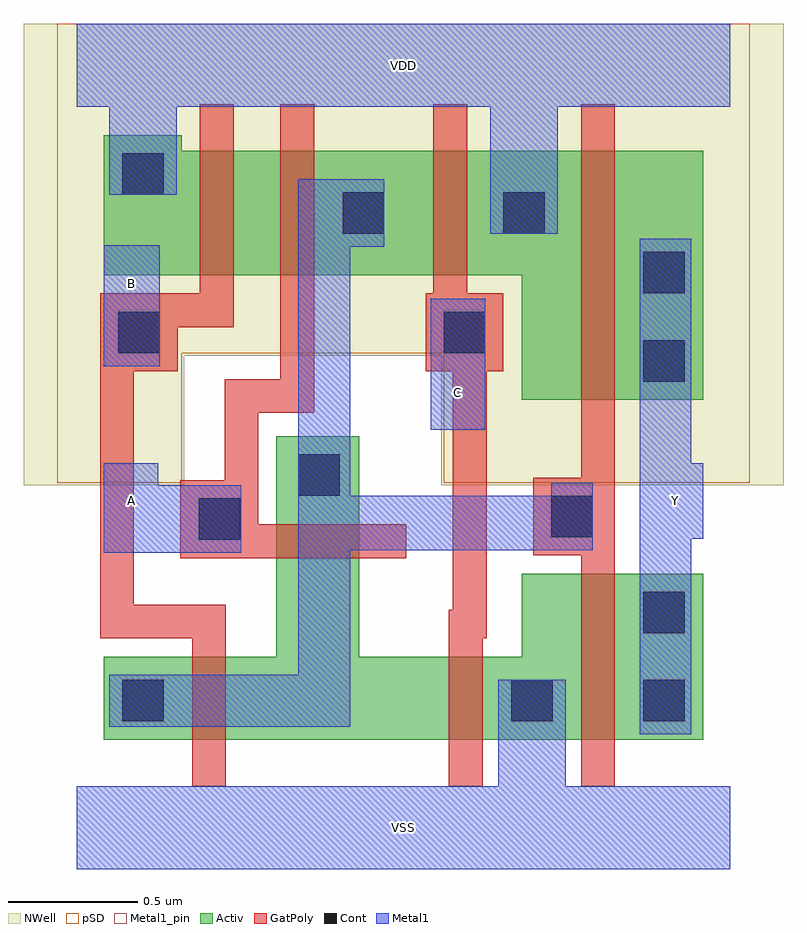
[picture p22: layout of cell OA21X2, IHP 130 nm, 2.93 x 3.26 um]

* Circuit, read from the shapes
.subckt OA21X2 A B C VDD VSS Y
XM1 n1 B n2 VSUBS sg13_lv_nmos w=0.32u l=0.13u
XM2 n2 A n1 VSUBS sg13_lv_nmos w=0.32u l=0.13u
XM3 VSS C n1 VSUBS sg13_lv_nmos w=0.32u l=0.13u
XM4 Y n2 VSS VSUBS sg13_lv_nmos w=0.64u l=0.13u
XM5 n3 B VDD n4 sg13_lv_pmos w=0.48u l=0.13u
XM6 n2 A n3 n4 sg13_lv_pmos w=0.48u l=0.13u
XM7 VDD C n2 n4 sg13_lv_pmos w=0.48u l=0.13u
XM8 Y n2 VDD n4 sg13_lv_pmos w=0.96u l=0.13u
.ends

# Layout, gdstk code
import gdstk
lib = gdstk.Library(unit=1e-6, precision=1e-09)
def R(c, l, rs):  # rectangles x0, y0, x1, y1
    for r in rs: c.add(gdstk.rectangle(r[:2], r[2:], *l))
def P(c, l, *ps):  # polygons
    for p in ps: c.add(gdstk.Polygon(p, *l))
Activ = (1, 0)
GatPoly = (5, 0)
Cont = (6, 0)
Metal1 = (8, 0)
Metal1_pin = (8, 2)
pSD = (14, 0)
NWell = (31, 0)

oa21x2 = lib.new_cell('OA21X2')
P(oa21x2, Activ, [(0.105,0.34),(0.105,0.66),(0.77,0.66),(0.77,1.51),(1.09,1.51),(1.09,0.66),(1.715,0.66),(1.715,0.98),(2.415,0.98),(2.415,0.34)],
  [(1.715,1.65),(1.715,2.13),(0.105,2.13),(0.105,2.67),(0.405,2.67),(0.405,2.61),(2.415,2.61),(2.415,1.65)])
P(oa21x2, GatPoly, [(1.945,0.16),(1.945,1.05),(1.76,1.05),(1.76,1.35),(1.945,1.35),(1.945,2.79),(2.075,2.79),(2.075,0.16)],
  [(0.4,1.04),(0.4,1.34),(0.57,1.34),(0.57,1.73),(0.785,1.73),(0.785,2.79),(0.915,2.79),(0.915,1.6),(0.7,1.6),(0.7,1.17),(1.27,1.17),(1.27,1.04)],
  [(1.435,0.16),(1.435,0.84),(1.45,0.84),(1.45,1.76),(1.345,1.76),(1.345,2.06),(1.375,2.06),(1.375,2.79),(1.505,2.79),(1.505,2.06),(1.645,2.06),(1.645,1.76),(1.58,1.76),(1.58,0.73),(1.565,0.73),(1.565,0.16)],
  [(0.445,0.16),(0.445,0.73),(0.09,0.73),(0.09,2.06),(0.475,2.06),(0.475,2.79),(0.605,2.79),(0.605,1.93),(0.39,1.93),(0.39,1.76),(0.22,1.76),(0.22,0.86),(0.575,0.86),(0.575,0.16)])
R(oa21x2, Cont, [(0.175,0.41,0.335,0.57), (1.675,0.41,1.835,0.57), (2.185,0.41,2.345,0.57), (2.185,0.75,2.345,0.91), (0.47,1.11,0.63,1.27), (1.83,1.12,1.99,1.28), (0.855,1.28,1.015,1.44), (2.185,1.72,2.345,1.88), (0.16,1.83,0.32,1.99), (1.415,1.83,1.575,1.99), (2.185,2.06,2.345,2.22), (1.025,2.29,1.185,2.45), (1.645,2.29,1.805,2.45), (0.175,2.44,0.335,2.6)])
R(oa21x2, Metal1, [(1.365,1.535,1.575,2.04), (0.105,1.78,0.32,2.245)])
P(oa21x2, Metal1, [(0,-0.16),(0,0.16),(1.625,0.16),(1.625,0.57),(1.885,0.57),(1.885,0.16),(2.52,0.16),(2.52,-0.16)],
  [(1.595,2.29),(1.595,2.78),(0.385,2.78),(0.385,2.44),(0.125,2.44),(0.125,2.78),(0,2.78),(0,3.1),(2.52,3.1),(2.52,2.78),(1.855,2.78),(1.855,2.29)],
  [(2.17,0.36),(2.17,2.27),(2.37,2.27),(2.37,1.405),(2.415,1.405),(2.415,1.115),(2.37,1.115),(2.37,0.36)],
  [(0.125,0.39),(0.125,0.59),(0.855,0.59),(0.855,2.5),(1.185,2.5),(1.185,2.24),(1.055,2.24),(1.055,1.28),(1.83,1.28),(1.83,1.33),(1.99,1.33),(1.99,1.07),(1.055,1.07),(1.055,0.39)],
  [(0.105,1.06),(0.105,1.405),(0.315,1.405),(0.315,1.32),(0.635,1.32),(0.635,1.06)])
R(oa21x2, Metal1_pin, [(1.365,1.535,1.575,2.04), (0.105,1.78,0.32,2.245)])
P(oa21x2, Metal1_pin, [(1.595,2.29),(1.595,2.78),(0.385,2.78),(0.385,2.44),(0.125,2.44),(0.125,2.78),(0,2.78),(0,3.1),(2.52,3.1),(2.52,2.78),(1.855,2.78),(1.855,2.29)],
  [(2.17,0.36),(2.17,2.27),(2.37,2.27),(2.37,1.405),(2.415,1.405),(2.415,1.115),(2.37,1.115),(2.37,0.36)],
  [(0,-0.16),(0,0.16),(1.625,0.16),(1.625,0.57),(1.885,0.57),(1.885,0.16),(2.52,0.16),(2.52,-0.16)],
  [(0.105,1.06),(0.105,1.405),(0.315,1.405),(0.315,1.32),(0.635,1.32),(0.635,1.06)])
P(oa21x2, pSD, [(-0.075,1.33),(-0.075,3.1),(2.595,3.1),(2.595,1.33),(1.415,1.33),(1.415,1.83),(0.405,1.83),(0.405,1.33)])
P(oa21x2, NWell, [(-0.205,1.32),(-0.205,3.1),(2.725,3.1),(2.725,1.32),(1.405,1.32),(1.405,1.82),(0.415,1.82),(0.415,1.32)])
oa21x2.add(gdstk.Label('VDD', (1.26,2.94), layer=8, texttype=25))
oa21x2.add(gdstk.Label('A', (0.21,1.26), layer=8, texttype=25))
oa21x2.add(gdstk.Label('Y', (2.31,1.26), layer=8, texttype=25))
oa21x2.add(gdstk.Label('B', (0.21,2.1), layer=8, texttype=25))
oa21x2.add(gdstk.Label('C', (1.47,1.68), layer=8, texttype=25))
oa21x2.add(gdstk.Label('VSS', (1.26,0), layer=8, texttype=25))

lib.write_gds('OA21X2.gds')
